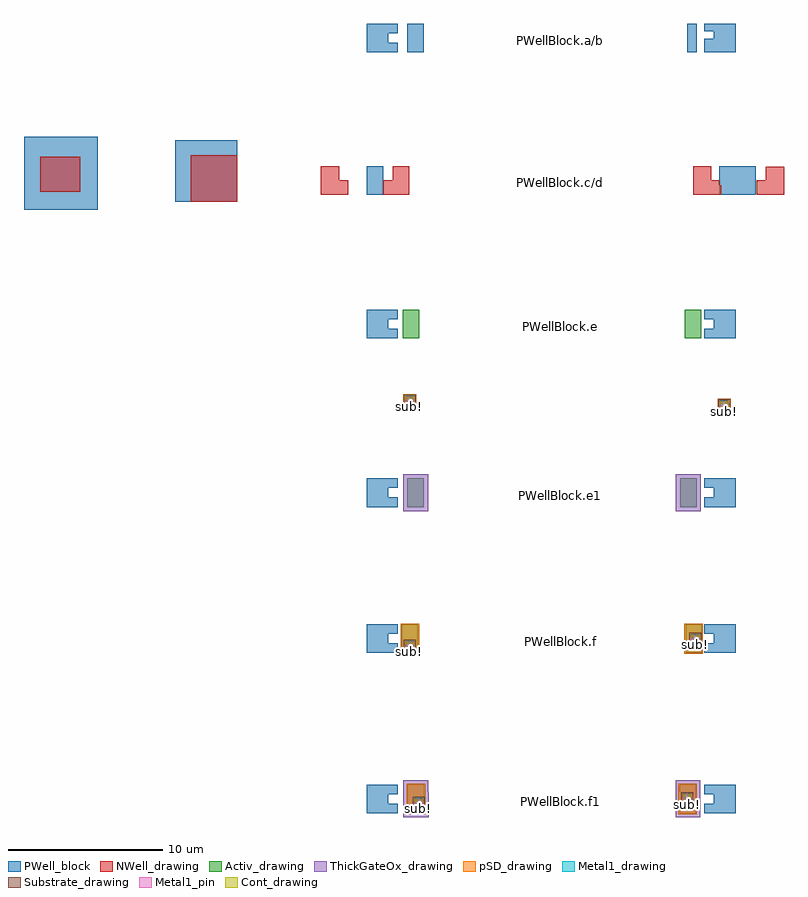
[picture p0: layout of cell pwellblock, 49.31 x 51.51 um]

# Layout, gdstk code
import gdstk
lib = gdstk.Library(unit=1e-6, precision=1e-09)
def R(c, l, rs):  # rectangles x0, y0, x1, y1
    for r in rs: c.add(gdstk.rectangle(r[:2], r[2:], *l))
def P(c, l, *ps):  # polygons
    for p in ps: c.add(gdstk.Polygon(p, *l))
Activ_drawing = (1, 0)
Cont_drawing = (6, 0)
Metal1_drawing = (8, 0)
Metal1_pin = (8, 2)
pSD_drawing = (14, 0)
NWell_drawing = (31, 0)
Substrate_drawing = (40, 0)
ThickGateOx_drawing = (44, 0)
PWell_block = (46, 21)

pwellblock = lib.new_cell('pwellblock')
R(pwellblock, Activ_drawing, [(-9.955,-53.68,-8.885,-51.82), (7.72,-53.68,8.79,-51.82), (-9.605,-53.4,-8.825,-52.62), (7.8,-53.1,8.58,-52.32), (-10.335,-43.275,-9.265,-41.415), (8.1,-43.275,9.17,-41.415), (-10.2,-43.2,-9.42,-42.42), (8.33,-42.755,9.11,-41.975), (-9.955,-33.81,-8.885,-31.95), (7.74,-33.81,8.81,-31.95), (10.2,-27.6,10.98,-26.82), (-10.2,-27.3,-9.42,-26.52), (-10.265,-22.875,-9.195,-21.015), (8.04,-22.875,9.11,-21.015)])
R(pwellblock, Cont_drawing, [(-9.465,-53.26,-9.305,-53.1), (-9.125,-53.26,-8.965,-53.1), (7.94,-52.96,8.1,-52.8), (8.28,-52.96,8.44,-52.8), (-9.465,-52.92,-9.305,-52.76), (-9.125,-52.92,-8.965,-52.76), (7.94,-52.62,8.1,-52.46), (8.28,-52.62,8.44,-52.46), (-10.06,-43.06,-9.9,-42.9), (-9.72,-43.06,-9.56,-42.9), (-10.06,-42.72,-9.9,-42.56), (-9.72,-42.72,-9.56,-42.56), (8.47,-42.615,8.63,-42.455), (8.81,-42.615,8.97,-42.455), (8.47,-42.275,8.63,-42.115), (8.81,-42.275,8.97,-42.115), (10.34,-27.46,10.5,-27.3), (10.68,-27.46,10.84,-27.3), (-10.06,-27.16,-9.9,-27), (-9.72,-27.16,-9.56,-27), (10.34,-27.12,10.5,-26.96), (10.68,-27.12,10.84,-26.96), (-10.06,-26.82,-9.9,-26.66), (-9.72,-26.82,-9.56,-26.66)])
R(pwellblock, Metal1_drawing, [(-9.465,-53.36,-8.965,-52.66), (-9.465,-53.31,-8.965,-52.71), (7.94,-53.03,8.44,-52.405), (7.94,-53.01,8.44,-52.41), (-10.06,-43.14,-9.56,-42.47), (-10.06,-43.11,-9.56,-42.51), (8.47,-42.665,8.97,-42.065), (8.47,-42.665,8.97,-42.06), (10.34,-27.53,10.84,-26.895), (10.34,-27.51,10.84,-26.91), (-10.06,-27.21,-9.56,-26.61), (-10.06,-27.21,-9.56,-26.61)])
R(pwellblock, Metal1_pin, [(-9.465,-53.26,-8.965,-52.76), (7.94,-52.96,8.44,-52.46), (-10.06,-43.06,-9.56,-42.56), (8.47,-42.615,8.97,-42.115), (10.34,-27.46,10.84,-26.96), (-10.06,-27.16,-9.56,-26.66)])
R(pwellblock, pSD_drawing, [(-9.995,-53.735,-8.795,-51.775), (7.63,-53.735,8.83,-51.775), (-9.635,-53.43,-8.795,-52.59), (7.77,-53.13,8.61,-52.29), (-10.375,-43.33,-9.175,-41.37), (8.01,-43.33,9.21,-41.37), (-10.23,-43.23,-9.39,-42.39), (8.3,-42.785,9.14,-41.945), (10.17,-27.63,11.01,-26.79), (-10.23,-27.33,-9.39,-26.49)])
R(pwellblock, NWell_drawing, [(-24,-14,-21,-11), (-33.782,-13.348,-31.171,-11.085)])
P(pwellblock, NWell_drawing, [(12.71,-13.565),(12.71,-12.615),(13.29,-12.615),(13.29,-11.72),(14.48,-11.72),(14.48,-13.565)],
  [(-11.535,-13.565),(-11.535,-12.6),(-10.915,-12.6),(-10.915,-11.705),(-9.845,-11.705),(-9.845,-13.565)],
  [(8.58,-13.565),(8.58,-11.705),(9.77,-11.705),(9.77,-12.6),(10.27,-12.6),(10.27,-12.925),(10.405,-12.925),(10.405,-13.565)],
  [(-15.565,-13.565),(-15.565,-11.705),(-14.375,-11.705),(-14.375,-12.6),(-13.795,-12.6),(-13.795,-13.565)])
R(pwellblock, Substrate_drawing, [(-9.605,-53.4,-8.825,-52.62), (7.8,-53.1,8.58,-52.32), (-10.2,-43.2,-9.42,-42.42), (8.33,-42.755,9.11,-41.975), (10.2,-27.6,10.98,-26.82), (-10.2,-27.3,-9.42,-26.52)])
R(pwellblock, ThickGateOx_drawing, [(-10.225,-53.95,-8.615,-51.55), (-8.725,-53.95,-8.555,-52.36), (7.45,-53.95,9.06,-51.55), (-10.225,-34.08,-8.615,-31.68), (7.47,-34.08,9.08,-31.68)])
R(pwellblock, PWell_block, [(-34.826,-14.532,-30.056,-9.797), (-25,-14,-21,-10), (-12.605,-13.565,-11.535,-11.705), (10.27,-13.565,12.655,-11.705), (-9.955,-4.305,-8.885,-2.445), (8.2,-4.305,8.81,-2.445)])
P(pwellblock, PWell_block, [(9.31,-4.305),(9.31,-3.445),(9.93,-3.445),(9.93,-2.945),(9.31,-2.945),(9.31,-2.445),(11.34,-2.445),(11.34,-4.305)],
  [(9.31,-22.875),(9.31,-22.255),(9.93,-22.255),(9.93,-21.635),(9.31,-21.635),(9.31,-21.015),(11.34,-21.015),(11.34,-22.875)],
  [(9.31,-33.81),(9.31,-33.19),(9.93,-33.19),(9.93,-32.57),(9.31,-32.57),(9.31,-31.95),(11.34,-31.95),(11.34,-33.81)],
  [(9.31,-43.275),(9.31,-42.655),(9.93,-42.655),(9.93,-42.035),(9.31,-42.035),(9.31,-41.415),(11.34,-41.415),(11.34,-43.275)],
  [(9.31,-53.68),(9.31,-53.06),(9.93,-53.06),(9.93,-52.44),(9.31,-52.44),(9.31,-51.82),(11.34,-51.82),(11.34,-53.68)],
  [(-12.605,-53.68),(-12.605,-51.82),(-10.575,-51.82),(-10.575,-52.44),(-11.195,-52.44),(-11.195,-53.06),(-10.575,-53.06),(-10.575,-53.68)],
  [(-12.605,-43.275),(-12.605,-41.415),(-10.575,-41.415),(-10.575,-42.035),(-11.195,-42.035),(-11.195,-42.655),(-10.575,-42.655),(-10.575,-43.275)],
  [(-12.605,-33.81),(-12.605,-31.95),(-10.575,-31.95),(-10.575,-32.57),(-11.195,-32.57),(-11.195,-33.19),(-10.575,-33.19),(-10.575,-33.81)],
  [(-12.605,-22.875),(-12.605,-21.015),(-10.575,-21.015),(-10.575,-21.635),(-11.195,-21.635),(-11.195,-22.255),(-10.575,-22.255),(-10.575,-22.875)],
  [(-12.605,-4.305),(-12.605,-2.445),(-10.575,-2.445),(-10.575,-3.065),(-11.195,-3.065),(-11.195,-3.685),(-10.575,-3.685),(-10.575,-4.305)])
pwellblock.add(gdstk.Label('sub!', (-9.215,-53.39), layer=63, texttype=0))
pwellblock.add(gdstk.Label('sub!', (-9.81,-43.19), layer=63, texttype=0))
pwellblock.add(gdstk.Label('sub!', (-9.81,-27.29), layer=63, texttype=0))
pwellblock.add(gdstk.Label('sub!', (8.19,-53.09), layer=63, texttype=0))
pwellblock.add(gdstk.Label('sub!', (8.72,-42.745), layer=63, texttype=0))
pwellblock.add(gdstk.Label('sub!', (10.59,-27.59), layer=63, texttype=0))
pwellblock.add(gdstk.Label('PASS', (-12,5), layer=63, texttype=0))
pwellblock.add(gdstk.Label('FAIL', (12,5), layer=63, texttype=0))
pwellblock.add(gdstk.Label('PWellBlock.a/b', (0,-3.54), layer=63, texttype=0))
pwellblock.add(gdstk.Label('PWellBlock.c/d', (0,-12.73), layer=63, texttype=0))
pwellblock.add(gdstk.Label('PWellBlock.e', (0,-22.12), layer=63, texttype=0))
pwellblock.add(gdstk.Label('PWellBlock.e1', (0,-33.05), layer=63, texttype=0))
pwellblock.add(gdstk.Label('PWellBlock.f', (0,-42.52), layer=63, texttype=0))
pwellblock.add(gdstk.Label('PWellBlock.f1', (0,-52.92), layer=63, texttype=0))
pwellblock.add(gdstk.Label('5.2 PWell:block', (0,21), layer=63, texttype=0))

lib.write_gds('pwellblock.gds')
